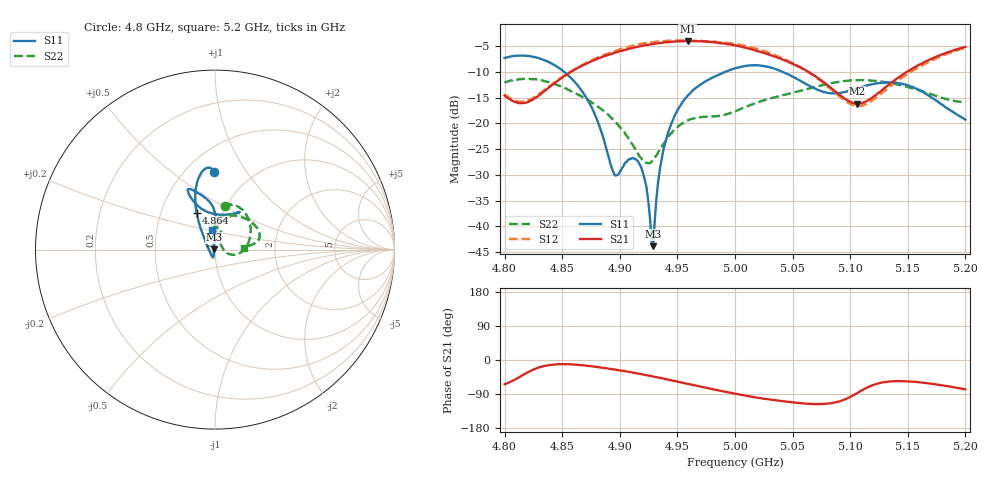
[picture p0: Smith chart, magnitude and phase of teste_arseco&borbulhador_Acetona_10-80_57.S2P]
! Network Analyzer HP8722D
! Hewlett-Packard
! Data name: Linha & Wilkinson
! Saver's name: Rodrigo Anjos
! Comments: Teste da utilização de aquisição
! continua pelo VNA HP8722D
! Time and date: 25/4/2025 15:44
!  Frequency  S11  S21  S12  S22
# HZ  S  MA R 50
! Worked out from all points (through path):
!   401 points, 4.8 GHz to 5.2 GHz, reference 50 ohm
!   highest |S21| = -3.95 dB at 4.959 GHz (marker M1); lowest = -16.1 dB at 5.106 GHz (marker M2)
!   lowest |S11| = -43.9 dB at 4.929 GHz (marker M3), VSWR 1.01, Z = 49.4 + j0.251 ohm
!   |S11| at or under -10 dB: 4.852 GHz to 4.991 GHz (139.1 MHz wide, 2.83 % of centre); 5.042 GHz to end of sweep
!   |S22| runs from -27.8 to -11.3 dB; largest |S21 - S12| = 1.2
!   S11 on the Smith chart (normalised r, x): 4.8 GHz: 0.68, +0.72; 4.864 GHz: 0.75, +0.33; 5.2 GHz: 0.94, +0.20
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4.8e9  0.4336 90.6  0.1869 -64.1  0.1917 69.5  0.249 77.1
4.82e9  0.4529 96.9  0.1615 -32.5  0.1669 98.2  0.2722 61.7
4.845e9  0.3595 107.2  0.2544 -11.5  0.2584 119.4  0.2383 34.4
4.864e9  0.2304 116.5  0.3498 -12.9  0.3526 121.0  0.1901 12.1
4.867e9  0.2073 118.1  0.3639 -13.8  0.3679 120.7  0.183 8.6
4.88e9  0.1104 128.3  0.4228 -18.4  0.4336 118.3  0.1488 -5.4
4.895e9  0.03216 -172.3  0.4867 -25.0  0.5028 113.8  0.107 -15.9
4.909e9  0.04531 -105.7  0.5358 -32.0  0.5622 107.7  0.06746 -14.7
4.917e9  0.04022 -101.3  0.563 -36.5  0.5909 103.5  0.04805 -1.8
4.922e9  0.02734 -104.1  0.5785 -39.2  0.6041 100.8  0.04184 14.7
4.927e9  0.009199 -132.5  0.5901 -42.4  0.6177 97.7  0.04174 36.5
4.929e9  0.006403 156.6  0.5939 -43.5  0.6204 96.6  0.04362 44.9
4.934e9  0.03078 98.6  0.6042 -46.7  0.6309 93.4  0.05384 58.8
4.943e9  0.08807 90.4  0.6202 -52.4  0.6378 87.5  0.07614 69.3
4.959e9  0.1868 89.3  0.6349 -62.9  0.6407 77.4  0.1072 71.7
5e9  0.3445 109.0  0.576 -89.0  0.5939 50.9  0.1318 88.8
5.03e9  0.3528 115.1  0.465 -104.2  0.4836 33.9  0.1738 85.6
5.067e9  0.2251 105.0  0.3021 -115.9  0.2996 23.6  0.2227 57.3
5.106e9  0.2197 64.3  0.1564 -87.4  0.1484 55.7  0.2635 25.0
5.134e9  0.2506 56.9  0.2407 -56.7  0.2265 88.7  0.2485 12.3
5.169e9  0.1847 69.4  0.419 -62.1  0.4026 84.9  0.1944 6.9
5.2e9  0.1092 99.9  0.5561 -77.5  0.545 70.2  0.1607 3.9
